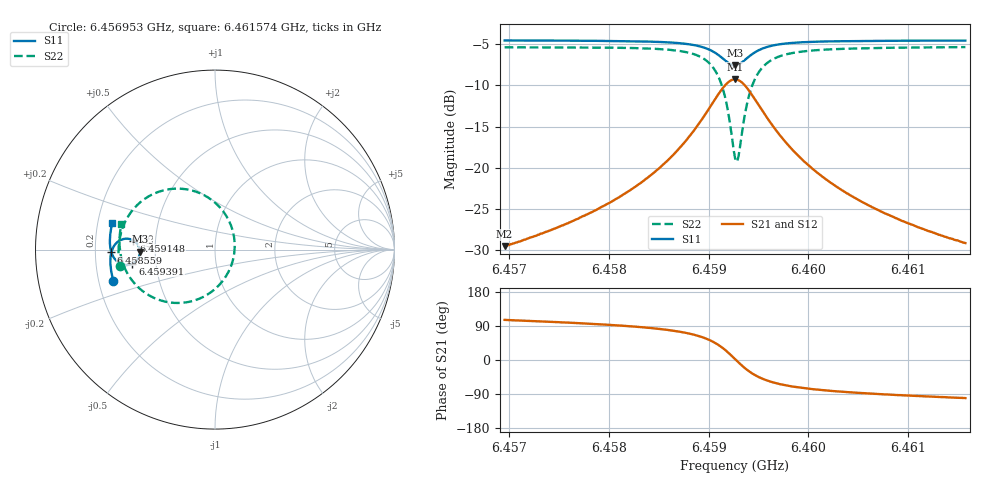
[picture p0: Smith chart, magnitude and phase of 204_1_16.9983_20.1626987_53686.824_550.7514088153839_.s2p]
#  HZ  S  RI  R  50.00
! Rohde & Schwarz Vector Network Analyzer
! Rohde-Schwarz,ZNB20-2Port,1311601062101988,3.16
! Created: UTC 3/20/2024, 11:01:10 PM
! freq[Hz]  re:S11  im:S11  re:S21  im:S21  re:S12  im:S12  re:S22  im:S22
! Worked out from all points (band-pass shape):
!   401 points, 6.456953 GHz to 6.461574 GHz, reference 50 ohm
!   highest |S21| = -9.26 dB at 6.459263 GHz (marker M1); lowest = -29.5 dB at 6.456953 GHz (marker M2)
!   |S21| within 3 dB of the highest: 6.459032 GHz to 6.459495 GHz (462.8 kHz wide, 0.00716 % of centre)
!   lowest |S11| = -7.6 dB at 6.459263 GHz (marker M3), VSWR 2.44, Z = 20.5 - j0.606 ohm
!   |S11| at or under -10 dB: nowhere
!   |S22| runs from -19.2 to -5.4 dB; largest |S21 - S12| = 0.013
!   S11 on the Smith chart (normalised r, x): 6.456953 GHz: 0.26, -0.14; 6.458559 GHz: 0.27, -0.01; 6.459148 GHz: 0.37, +0.05; 6.459391 GHz: 0.37, -0.07; 6.461574 GHz: 0.26, +0.12
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6.4569528e9  -0.5657 -0.1753  -0.00919 0.0323  -0.00736 0.0323  -0.5309 -0.09
6.4577269e9  -0.5802 -0.1076  -0.00596 0.0503  -0.00337 0.0497  -0.5371 0.000318
6.4581428e9  -0.5831 -0.0662  -0.000315 0.069  0.00294 0.0676  -0.5301 0.0658
6.4585009e9  -0.5795 -0.0236  0.0136 0.0984  0.0175 0.0958  -0.5049 0.1458
6.4585587e9  -0.5779 -0.0157  0.0179 0.1056  0.0219 0.1024  -0.4968 0.1623
6.4587667e9  -0.5649 0.0165  0.0452 0.1378  0.0493 0.133  -0.4459 0.2353
6.4589169e9  -0.5425 0.043  0.0903 0.1684  0.0934 0.1619  -0.3631 0.3003
6.4590555e9  -0.4988 0.0607  0.1771 0.1853  0.1782 0.1782  -0.2044 0.3396
6.4591479e9  -0.4542 0.0506  0.2668 0.1546  0.2672 0.1487  -0.0382 0.2901
6.4592172e9  -0.4252 0.0187  0.3276 0.083  0.3296 0.0777  0.0774 0.1617
6.4592635e9  -0.4183 -0.0122  0.3438 0.0153  0.3476 0.00842  0.1096 0.0353
6.459275e9  -0.4188 -0.0203  0.3438 -0.0024  0.3476 -0.00987  0.1093 0.00195
6.4592981e9  -0.4222 -0.0358  0.3381 -0.0369  0.3421 -0.0459  0.0986 -0.0635
6.4593905e9  -0.4596 -0.0781  0.2683 -0.1376  0.2675 -0.1506  -0.043 -0.251
6.4594368e9  -0.4825 -0.0848  0.224 -0.1601  0.2204 -0.1729  -0.1312 -0.288
6.4594945e9  -0.5075 -0.0841  0.1751 -0.1695  0.1685 -0.1805  -0.2281 -0.2968
6.4596447e9  -0.5488 -0.0626  0.0921 -0.1535  0.0837 -0.1592  -0.3853 -0.2438
6.4598065e9  -0.5692 -0.035  0.0497 -0.1261  0.0423 -0.1286  -0.4611 -0.1731
6.4600375e9  -0.5809 -0.00144  0.0224 -0.0966  0.0168 -0.0973  -0.5057 -0.0958
6.4603957e9  -0.5857 0.0409  0.00631 -0.0695  0.00229 -0.0689  -0.5279 -0.0149
6.4608116e9  -0.5839 0.0825  -0.00138 -0.0517  -0.00405 -0.0508  -0.532 0.0512
6.4615741e9  -0.5717 0.15  -0.0064 -0.0345  -0.00806 -0.0335  -0.521 0.1411
